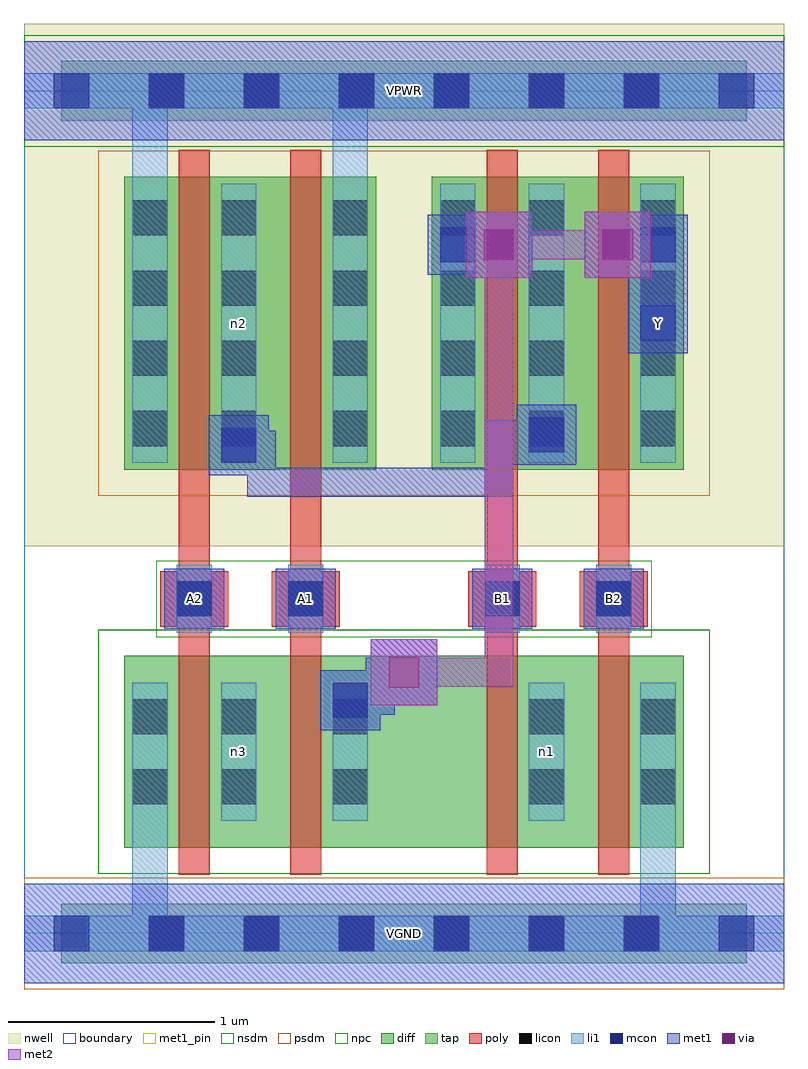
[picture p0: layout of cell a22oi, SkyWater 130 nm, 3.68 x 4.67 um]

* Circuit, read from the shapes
.subckt a22oi A1 A2 B1 B2 VGND VPWR Y n1 n2 n3
XM1 n3 A2 VGND VGND sky130_fd_pr__nfet_01v8 w=0.93 l=0.15
XM2 Y A1 n3 VGND sky130_fd_pr__nfet_01v8 w=0.93 l=0.15
XM3 n1 B1 Y VGND sky130_fd_pr__nfet_01v8 w=0.93 l=0.15
XM4 VGND B2 n1 VGND sky130_fd_pr__nfet_01v8 w=0.93 l=0.15
XM5 n2 A2 VPWR VPWR sky130_fd_pr__pfet_01v8 w=1.42 l=0.15
XM6 VPWR A1 n2 VPWR sky130_fd_pr__pfet_01v8 w=1.42 l=0.15
XM7 n2 B1 Y VPWR sky130_fd_pr__pfet_01v8 w=1.42 l=0.15
XM8 Y B2 n2 VPWR sky130_fd_pr__pfet_01v8 w=1.42 l=0.15
.ends

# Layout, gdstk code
import gdstk
lib = gdstk.Library(unit=1e-6, precision=1e-09)
def R(c, l, rs):  # rectangles x0, y0, x1, y1
    for r in rs: c.add(gdstk.rectangle(r[:2], r[2:], *l))
def A(c, l, x, y, w, h, nx, ny, dx, dy):  # array of equal rectangles
    R(c, l, [(x+i*dx, y+j*dy, x+i*dx+w, y+j*dy+h) for i in range(nx) for j in range(ny)])
nwell = (64, 20)
diff = (65, 20)
tap = (65, 44)
poly = (66, 20)
licon = (66, 44)
li1 = (67, 20)
mcon = (67, 44)
met1_pin = (68, 16)
met1 = (68, 20)
via = (68, 44)
met2 = (69, 20)
nsdm = (93, 44)
psdm = (94, 20)
npc = (95, 20)
boundary = (235, 4)

a22oi = lib.new_cell('a22oi')
R(a22oi, nwell, [(0,1.875,3.68,4.405)])
R(a22oi, diff, [(0.485,0.415,3.195,1.345), (0.485,2.245,1.705,3.665), (1.975,2.245,3.195,3.665)])
R(a22oi, tap, [(0.18,-0.145,3.5,0.145), (0.18,3.935,3.5,4.225)])
R(a22oi, poly, [(0.75,0.285,0.9,3.795), (1.29,0.285,1.44,3.795), (2.24,0.285,2.39,3.795), (2.78,0.285,2.93,3.795), (0.66,1.485,0.99,1.755), (1.2,1.485,1.53,1.755), (2.15,1.485,2.48,1.755), (2.69,1.485,3.02,1.755)])
A(a22oi, licon, 0.605, -0.085, 0.17, 0.17, 6, 2, 0.46, 4.08)
A(a22oi, licon, 0.525, 2.36, 0.17, 0.17, 1, 4, 0, 0.34)
A(a22oi, licon, 0.955, 2.36, 0.17, 0.17, 1, 4, 0, 0.34)
A(a22oi, licon, 1.495, 2.36, 0.17, 0.17, 1, 4, 0, 0.34)
A(a22oi, licon, 2.015, 2.36, 0.17, 0.17, 1, 4, 0, 0.34)
A(a22oi, licon, 2.445, 2.36, 0.17, 0.17, 1, 4, 0, 0.34)
A(a22oi, licon, 2.985, 2.36, 0.17, 0.17, 1, 4, 0, 0.34)
R(a22oi, licon, [(0.525,0.625,0.695,0.795), (0.955,0.625,1.125,0.795), (1.495,0.625,1.665,0.795), (2.445,0.625,2.615,0.795), (2.985,0.625,3.155,0.795), (0.525,0.965,0.695,1.135), (0.955,0.965,1.125,1.135), (1.495,0.965,1.665,1.135), (2.445,0.965,2.615,1.135), (2.985,0.965,3.155,1.135), (0.74,1.535,0.91,1.705), (1.28,1.535,1.45,1.705), (2.23,1.535,2.4,1.705), (2.77,1.535,2.94,1.705)])
R(a22oi, li1, [(0,-0.085,3.68,0.085), (0.525,-0.085,0.695,1.215), (2.985,-0.085,3.155,1.215), (0.525,0.545,0.695,1.215), (0.955,0.545,1.125,1.215), (1.495,0.545,1.665,1.215), (2.445,0.545,2.615,1.215), (2.985,0.545,3.155,1.215), (0.74,1.455,0.91,1.785), (1.28,1.455,1.45,1.785), (2.23,1.455,2.4,1.785), (2.77,1.455,2.94,1.785), (0.525,2.28,0.695,3.63), (0.525,2.28,0.695,4.165), (0.955,2.28,1.125,3.63), (1.495,2.28,1.665,3.63), (1.495,2.28,1.665,4.165), (2.015,2.28,2.185,3.63), (2.445,2.28,2.615,3.63), (2.985,2.28,3.155,3.63), (0,3.995,3.68,4.165)])
A(a22oi, mcon, 0.145, -0.085, 0.17, 0.17, 8, 2, 0.46, 4.08)
R(a22oi, mcon, [(1.495,1.045,1.665,1.215), (0.74,1.535,0.91,1.705), (1.28,1.535,1.45,1.705), (2.23,1.535,2.4,1.705), (2.77,1.535,2.94,1.705), (0.955,2.28,1.125,2.45), (2.445,2.33,2.615,2.5), (2.985,2.87,3.155,3.04), (2.015,3.25,2.185,3.42), (2.985,3.25,3.155,3.42)])
R(a22oi, met1_pin, [(0,-0.24,3.68,0.24), (0.68,1.475,0.97,1.765), (1.22,1.475,1.51,1.765), (2.17,1.475,2.46,1.765), (2.71,1.475,3,1.765), (2.925,2.81,3.215,3.1), (0,3.84,3.68,4.32)])
R(a22oi, met1, [(0,-0.24,3.68,0.24), (1.435,0.985,1.725,1.275), (1.51,1.06,1.795,1.2), (1.655,1.06,1.795,1.335), (1.68,1.105,2,1.425), (1.655,1.195,1.91,1.335), (0.68,1.475,0.97,1.765), (1.22,1.475,1.51,1.765), (2.17,1.475,2.46,1.765), (2.71,1.475,3,1.765), (1.08,2.115,1.22,2.435), (1.08,2.115,2.37,2.255), (2.23,2.115,2.37,2.485), (0.895,2.22,1.185,2.51), (2.37,2.27,2.385,2.485), (2.385,2.27,2.675,2.56), (0.97,2.295,1.22,2.435), (2.23,2.345,2.6,2.485), (2.925,2.81,3.215,3.1), (2.925,3.1,3.215,3.19), (2.925,3.1,3.035,3.175), (2.14,3.175,2.46,3.495), (2.715,3.175,3.035,3.495), (1.955,3.19,2.245,3.48), (2.925,3.19,3.215,3.48), (2.03,3.265,2.37,3.405), (2.805,3.265,3.14,3.405), (0,3.84,3.68,4.32)])
R(a22oi, via, [(1.765,1.19,1.915,1.34), (2.225,3.26,2.375,3.41), (2.8,3.26,2.95,3.41)])
R(a22oi, met2, [(1.68,1.105,2,1.425), (1.77,1.195,2.37,1.335), (2.23,1.195,2.37,3.405), (2.14,3.175,2.46,3.495), (2.715,3.175,3.035,3.495), (2.23,3.265,2.945,3.405)])
R(a22oi, nsdm, [(0.36,0.29,3.32,1.47), (0,3.81,3.68,4.35)])
R(a22oi, psdm, [(0,-0.27,3.68,0.27), (0.36,2.12,3.32,3.79)])
R(a22oi, npc, [(0.64,1.435,3.04,1.805)])
R(a22oi, boundary, [(0,0,3.68,4.08)])
a22oi.add(gdstk.Label('n3', (1.04,0.88), layer=67, texttype=5))
a22oi.add(gdstk.Label('n1', (2.53,0.88), layer=67, texttype=5))
a22oi.add(gdstk.Label('n2', (1.04,2.955), layer=67, texttype=5))
a22oi.add(gdstk.Label('A1', (1.365,1.62), layer=68, texttype=5))
a22oi.add(gdstk.Label('A2', (0.825,1.62), layer=68, texttype=5))
a22oi.add(gdstk.Label('B1', (2.315,1.62), layer=68, texttype=5))
a22oi.add(gdstk.Label('B2', (2.855,1.62), layer=68, texttype=5))
a22oi.add(gdstk.Label('Y', (3.07,2.955), layer=68, texttype=5))
a22oi.add(gdstk.Label('VPWR', (1.84,4.08), layer=68, texttype=5))
a22oi.add(gdstk.Label('VGND', (1.84,0), layer=68, texttype=5))
a22oi.add(gdstk.Label('A1', (1.365,1.62), layer=68, texttype=16))
a22oi.add(gdstk.Label('A2', (0.825,1.62), layer=68, texttype=16))
a22oi.add(gdstk.Label('B1', (2.315,1.62), layer=68, texttype=16))
a22oi.add(gdstk.Label('B2', (2.855,1.62), layer=68, texttype=16))
a22oi.add(gdstk.Label('Y', (3.07,2.955), layer=68, texttype=16))
a22oi.add(gdstk.Label('VPWR', (1.84,4.08), layer=68, texttype=16))
a22oi.add(gdstk.Label('VGND', (1.84,0), layer=68, texttype=16))

lib.write_gds('a22oi.gds')
